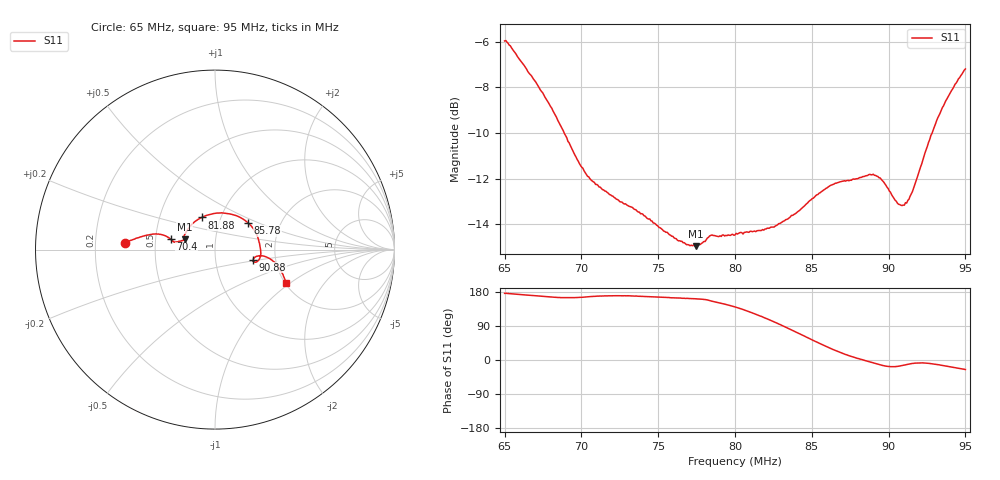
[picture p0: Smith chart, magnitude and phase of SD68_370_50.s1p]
! NanoVNA-App
! Date: 2025-08-09 12:50:18
! Start: 65MHz Stop: 95MHz Points: 401
! S-Parameter data: F S11
# Hz S RI R 50
!  Frequency  S11_Real  S11_Imag
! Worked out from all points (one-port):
!   401 points, 65 MHz to 95 MHz, reference 50 ohm
!   lowest |S11| = -15.0 dB at 77.45 MHz (marker M1), VSWR 1.43, Z = 35.3 + j4.14 ohm
!   |S11| at or under -10 dB: 68.88 MHz to 92.83 MHz (23.95 MHz wide, 29.6 % of centre)
!   S11 on the Smith chart (normalised r, x): 65 MHz: 0.33, +0.03; 70.4 MHz: 0.60, +0.07; 81.88 MHz: 0.81, +0.30; 85.78 MHz: 1.37, +0.43; 90.88 MHz: 1.53, -0.18; 95 MHz: 2.03, -0.93
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6.5e7  -0.5023 0.0368
6.5375e7  -0.4896 0.043
6.71e7  -0.3984 0.0754
6.875e7  -0.3115 0.0862
6.9575e7  -0.2728 0.075
7.04e7  -0.2473 0.0582
7.25e7  -0.2197 0.0407
7.625e7  -0.1765 0.0517
7.745e7  -0.1692 0.0567
7.85e7  -0.1714 0.0793
8e7  -0.1444 0.1217
8.09e7  -0.118 0.1506
8.1875e7  -0.0729 0.1792
8.3e7  -0.00774 0.2007
8.375e7  0.0438 0.2038
8.48e7  0.1201 0.1886
8.5775e7  0.1849 0.1484
8.6675e7  0.227 0.0948
8.75e7  0.2451 0.0448
8.885e7  0.2546 -0.0269
8.9675e7  0.2385 -0.0638
9.0275e7  0.2186 -0.0691
9.0875e7  0.212 -0.0553
9.125e7  0.2204 -0.0445
9.2e7  0.2584 -0.0345
9.275e7  0.3078 -0.0517
9.365e7  0.3546 -0.0967
9.5e7  0.396 -0.1851
